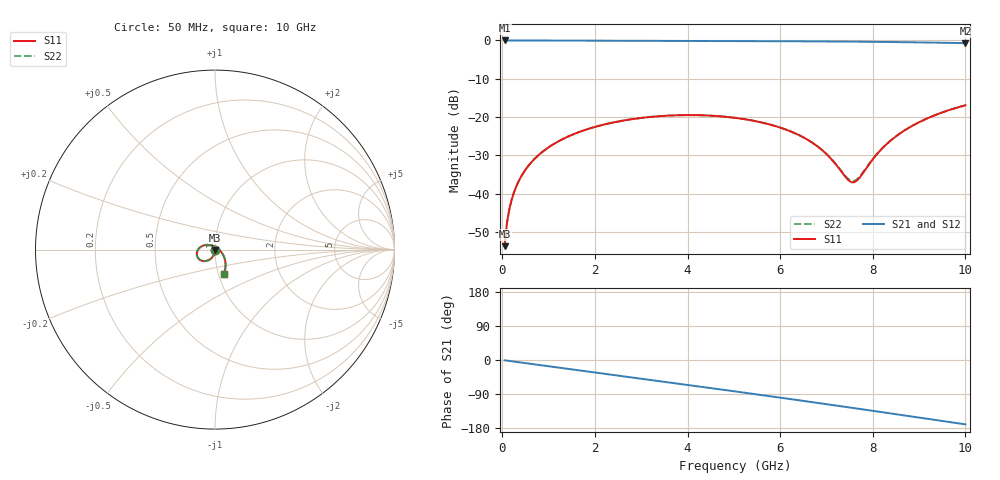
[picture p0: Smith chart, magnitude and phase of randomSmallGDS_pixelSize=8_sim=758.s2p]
! freq	dB(S11)	phase(S11)	dB(S12)	phase(S12)
!  dB(S21)	phase(S21)	dB(S22)	phase(S22)
!S-par simulation data
#  GHz  S  DB  R 50
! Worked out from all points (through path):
!   200 points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, 50 MHz to 10 GHz, reference 50 ohm
!   highest |S21| = 0.00 dB at 50 MHz (marker M1); lowest = -0.7 dB at 10 GHz (marker M2)
!   group delay of S21, straight-line fit = 47 ps
!   lowest |S11| = -53.7 dB at 50 MHz (marker M3), VSWR 1.00, Z = 50 - j0.206 ohm
!   |S11| at or under -10 dB: start of sweep to end of sweep
!   |S22| runs from -53.7 to -16.9 dB; largest |S21 - S12| = 0
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0.05  -53.73 -90.3  -0.00 -0.8  -0.00 -0.8  -53.73 -90.3
0.1  -47.71 -91.5  -0.00 -1.7  -0.00 -1.7  -47.71 -91.5
0.2  -41.70 -93.5  -0.01 -3.3  -0.01 -3.3  -41.70 -93.5
0.35  -36.84 -96.2  -0.01 -5.8  -0.01 -5.8  -36.84 -96.2
0.5  -33.77 -98.9  -0.01 -8.3  -0.01 -8.3  -33.77 -98.9
0.7  -30.89 -102.3  -0.02 -11.6  -0.02 -11.6  -30.89 -102.3
1  -27.91 -107.4  -0.02 -16.5  -0.02 -16.5  -27.91 -107.4
1.75  -23.53 -120.1  -0.05 -28.8  -0.05 -28.8  -23.53 -120.1
2.5  -21.17 -132.6  -0.08 -41.1  -0.08 -41.1  -21.17 -132.7
3.4  -19.77 -147.8  -0.11 -55.9  -0.11 -55.9  -19.77 -147.8
4.25  -19.52 -162.5  -0.14 -69.9  -0.14 -69.9  -19.52 -162.6
5.05  -20.25 -177.0  -0.17 -83.2  -0.17 -83.2  -20.25 -177.1
6  -22.76 163.8  -0.20 -99.3  -0.20 -99.3  -22.75 163.5
6.7  -26.76 145.0  -0.24 -111.3  -0.24 -111.3  -26.74 144.5
7.05  -30.27 129.5  -0.26 -117.4  -0.26 -117.4  -30.22 128.6
7.45  -36.21 84.9  -0.29 -124.4  -0.29 -124.4  -35.96 83.9
7.55  -37.06 62.7  -0.30 -126.2  -0.30 -126.2  -36.73 62.3
7.7  -36.08 28.2  -0.32 -128.8  -0.32 -128.8  -35.79 28.9
8.05  -30.28 -13.8  -0.36 -135.0  -0.36 -135.0  -30.19 -12.8
8.35  -26.53 -29.1  -0.40 -140.3  -0.40 -140.3  -26.48 -28.3
9.05  -21.07 -49.6  -0.51 -152.8  -0.51 -152.8  -21.05 -49.2
10  -16.93 -69.8  -0.71 -169.9  -0.71 -169.9  -16.92 -69.4
